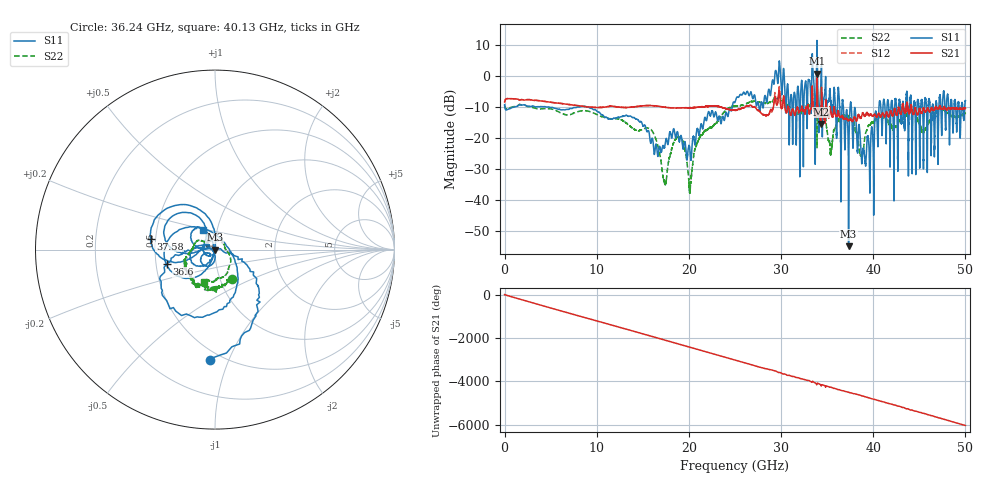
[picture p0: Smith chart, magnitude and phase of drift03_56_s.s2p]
!Created with skrf (http://scikit-rf.org).
# Hz S RI R 50.0
!freq ReS11 ImS11 ReS21 ImS21 ReS12 ImS12 ReS22 ImS22
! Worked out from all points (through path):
!   10001 points, 300 kHz to 50 GHz, reference 50 ohm
!   highest |S21| = 0.70 dB at 33.9 GHz (marker M1); lowest = -15.5 dB at 34.32 GHz (marker M2)
!   group delay of S21, straight-line fit = 335 ps
!   lowest |S11| = -55.0 dB at 37.33 GHz (marker M3), VSWR 1.00, Z = 49.8 - j0.0848 ohm
!   |S11| at or under -10 dB: 4.471 GHz to 7.97 GHz (3.499 GHz wide, 56.3 % of centre); 9.017 GHz to 24.7 GHz (15.68 GHz wide, 93 % of centre); 37.62 GHz to 40.62 GHz (3.002 GHz wide, 7.67 % of centre) (the widest 3 of 61)
!   |S22| runs from -38.4 to -5.9 dB; largest |S21 - S12| = 0.11
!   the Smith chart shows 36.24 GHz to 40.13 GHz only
!   S11 on the Smith chart (normalised r, x): 36.24 GHz: 0.43, -0.86; 36.6 GHz: 0.57, -0.10; 37.58 GHz: 0.47, +0.07; 40.13 GHz: 0.86, +0.19
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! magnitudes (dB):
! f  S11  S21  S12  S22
! 300 kHz  -9.3  -8.5  -8.5  -9.3
! 8.335 GHz  -9.9  -9.8  -9.8  -11.3
! 16.67 GHz  -25.5  -9.8  -9.8  -23.2
! 17.39 GHz  -22.6  -10.1  -10.1  -34.9
! 19.08 GHz  -19.7  -10.3  -10.4  -20.1
! 20.13 GHz  -24.8  -10.3  -10.3  -36.3
! 21.17 GHz  -18.2  -10.1  -10.1  -19.8
! 25 GHz  -8.5  -11.1  -11.1  -9.9
! 29.66 GHz  -2.3  -8.3  -8.4  -7.1
! 31.08 GHz  -6.1  -12.7  -12.7  -10.5
! 33.34 GHz  0.6  -7.5  -7.6  -9.4
! 33.9 GHz  11.5  0.7  0.3  -23.3
! 34.32 GHz  -2.9  -15.5  -14.9  -11.2
! 35.33 GHz  -5.7  -10.3  -9.8  -24.4
! 36.24 GHz  -4.2  -11.7  -11.7  -14.3
! 36.6 GHz  -11.1  -13.0  -13.1  -13.5
! 37.33 GHz  -55.0  -14.3  -14.5  -13.7
! 37.58 GHz  -8.8  -13.9  -13.8  -14.2
! 38.71 GHz  -26.0  -13.4  -13.3  -25.5
! 40.13 GHz  -17.9  -12.5  -12.5  -14.5
! 41.67 GHz  -9.6  -13.2  -13.2  -15.1
! 50 GHz  -8.0  -10.5  -10.6  -12.2
